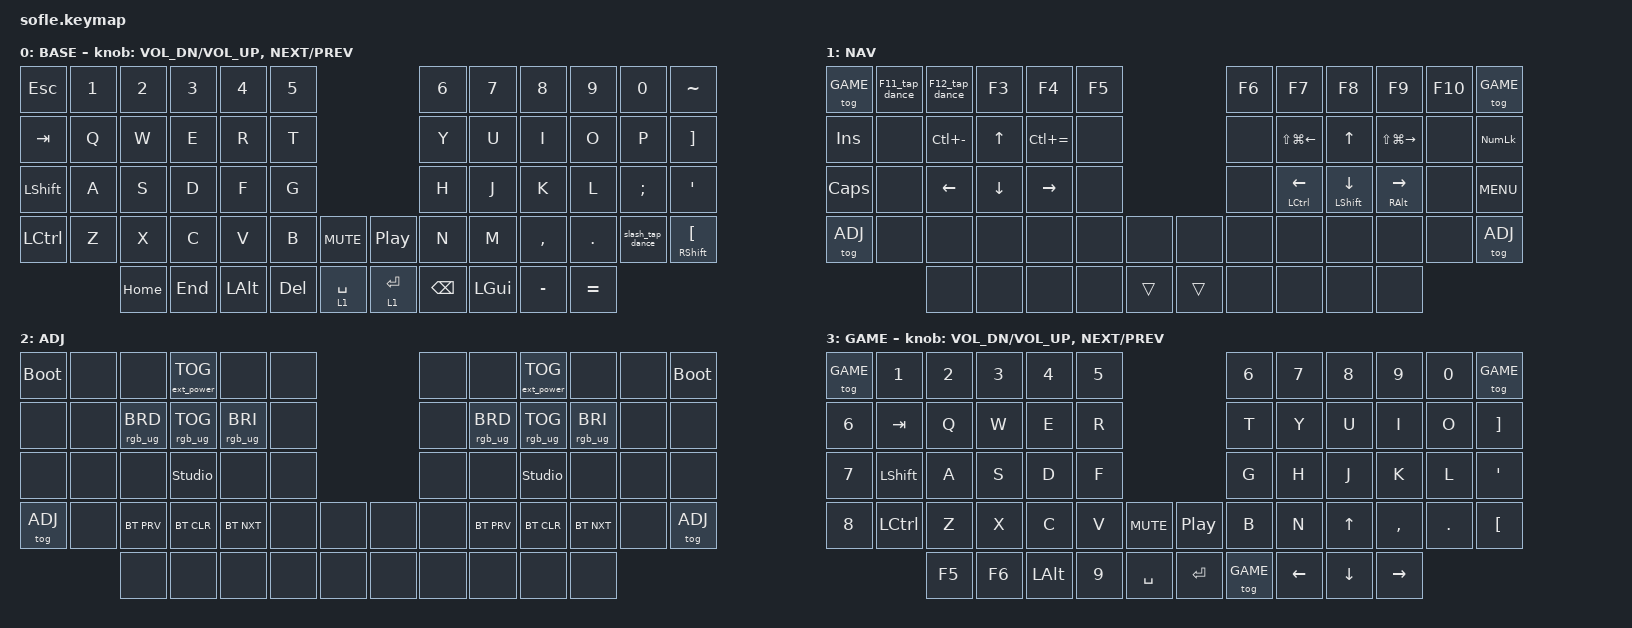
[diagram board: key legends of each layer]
#include <behaviors.dtsi>
#include <dt-bindings/zmk/bt.h>
#include <dt-bindings/zmk/ext_power.h>
#include <dt-bindings/zmk/keys.h>
#include <dt-bindings/zmk/rgb.h>

#define BASE 0
#define NAV 1
#define ADJ 2
#define GAME 3

&lt {
    tapping-term-ms = <280>;
    quick-tap-ms = <175>;
    require-prior-idle-ms = <150>;
    flavor = "balanced";
};

&mt {
    tapping-term-ms = <280>;
    quick-tap-ms = <175>;
    require-prior-idle-ms = <150>;
    flavor = "balanced";
};

/ {
    left_encoder: encoder_left {
        compatible = "alps,ec11";
        a-gpios = <&pro_micro 21 (GPIO_ACTIVE_HIGH | GPIO_PULL_UP)>;
        b-gpios = <&pro_micro 20 (GPIO_ACTIVE_HIGH | GPIO_PULL_UP)>;
        steps = <60>;
    };

    right_encoder: encoder_right {
        compatible = "alps,ec11";
        a-gpios = <&pro_micro 21 (GPIO_ACTIVE_HIGH | GPIO_PULL_UP)>;
        b-gpios = <&pro_micro 20 (GPIO_ACTIVE_HIGH | GPIO_PULL_UP)>;
        steps = <60>;
    };

    sensors {
        compatible = "zmk,keymap-sensors";
        sensors = <&left_encoder &right_encoder>;
        triggers-per-rotation = <30>;
    };
};

/ {
    combos {
        compatible = "zmk,combos";

        r_esc {
            bindings = <&kp ESC>;
            key-positions = <31 32 33>;
            layers = <BASE GAME>;
        };

        l_esc {
            bindings = <&kp ESC>;
            key-positions = <26 27 28>;
            layers = <BASE>;
        };

        switch_input {
            bindings = <&kp LS(LALT)>;
            key-positions = <54 55>;
            layers = <BASE>;
        };
    };

    behaviors {
        F11_tap_dance: F11_tap_dance {
            compatible = "zmk,behavior-tap-dance";
            #binding-cells = <0>;
            bindings = <&kp F1>, <&kp F11>;
        };

        F12_tap_dance: F12_tap_dance {
            compatible = "zmk,behavior-tap-dance";
            #binding-cells = <0>;
            bindings = <&kp F2>, <&kp F12>;
        };

        slash_tap_dance: slash_tap_dance {
            compatible = "zmk,behavior-tap-dance";
            #binding-cells = <0>;
            bindings = <&kp FSLH>, <&kp BACKSLASH>;
        };

        grave_dance: grave_dance {
            compatible = "zmk,behavior-tap-dance";
            #binding-cells = <0>;
            bindings = <&kp SQT>, <&kp GRAVE>;

            label = "GRAVE_DANCE";
        };
    };

    keymap {
        compatible = "zmk,keymap";

        BASE {
            display-name = "BASE";
            bindings = <
&kp ESC         &kp N1  &kp N2    &kp N3   &kp N4        &kp N5                                    &kp N6         &kp N7        &kp N8     &kp N9     &kp N0            &kp TILDE
&kp TAB         &kp Q   &kp W     &kp E    &kp R         &kp T                                     &kp Y          &kp U         &kp I      &kp O      &kp P             &kp RIGHT_BRACKET
&kp LEFT_SHIFT  &kp A   &kp S     &kp D    &kp F         &kp G                                     &kp H          &kp J         &kp K      &kp L      &kp SEMI          &kp SQT
&kp LCTRL       &kp Z   &kp X     &kp C    &kp V         &kp B    &kp C_MUTE     &kp C_PLAY_PAUSE  &kp N          &kp M         &kp COMMA  &kp DOT    &slash_tap_dance  &mt RSHFT LEFT_BRACKET
                        &kp HOME  &kp END  &kp LEFT_ALT  &kp DEL  &lt 1 SPACE    &lt 1 ENTER       &kp BACKSPACE  &kp LEFT_GUI  &kp MINUS  &kp EQUAL
            >;

            sensor-bindings =
                <&inc_dec_kp C_VOL_DN C_VOL_UP>,
                <&inc_dec_kp C_NEXT C_PREV>;
        };

        NAV {
            display-name = "NAV";
            bindings = <
&tog GAME   &F11_tap_dance  &F12_tap_dance  &kp F3    &kp F4         &kp F5                    &kp F6  &kp F7            &kp F8                &kp F9             &kp F10  &tog GAME
&kp INSERT  &none           &kp LC(MINUS)   &kp UP    &kp LC(EQUAL)  &none                     &none   &kp LS(LG(LEFT))  &kp UP_ARROW          &kp LS(LG(RIGHT))  &none    &kp KP_NUM
&kp CAPS    &none           &kp LEFT        &kp DOWN  &kp RIGHT      &none                     &none   &mt LCTRL LEFT    &mt LSHFT DOWN_ARROW  &mt RALT RIGHT     &none    &kp C_MENU
&tog ADJ    &none           &none           &none     &none          &none   &none     &none   &none   &none             &none                 &none              &none    &tog ADJ
                            &none           &none     &none          &none   &trans    &trans  &none   &none             &none                 &none
            >;
        };

        ADJ {
            display-name = "ADJ";
            bindings = <
&bootloader  &none  &none            &ext_power EP_TOG  &none            &none                  &none  &none            &ext_power EP_TOG  &none            &none  &bootloader
&none        &none  &rgb_ug RGB_BRD  &rgb_ug RGB_TOG    &rgb_ug RGB_BRI  &none                  &none  &rgb_ug RGB_BRD  &rgb_ug RGB_TOG    &rgb_ug RGB_BRI  &none  &none
&none        &none  &none            &studio_unlock     &none            &none                  &none  &none            &studio_unlock     &none            &none  &none
&tog ADJ     &none  &bt BT_PRV       &bt BT_CLR         &bt BT_NXT       &none  &none    &none  &none  &bt BT_PRV       &bt BT_CLR         &bt BT_NXT       &none  &tog ADJ
                    &none            &none              &none            &none  &none    &none  &none  &none            &none              &none
            >;
        };

        GAME {
            display-name = "GAME";
            bindings = <
&tog GAME  &kp N1     &kp N2  &kp N3  &kp N4    &kp N5                                  &kp N6     &kp N7    &kp N8    &kp N9     &kp N0   &tog GAME
&kp N6     &kp TAB    &kp Q   &kp W   &kp E     &kp R                                   &kp T      &kp Y     &kp U     &kp I      &kp O    &kp RIGHT_BRACKET
&kp N7     &kp LSHFT  &kp A   &kp S   &kp D     &kp F                                   &kp G      &kp H     &kp J     &kp K      &kp L    &kp SQT
&kp N8     &kp LCTRL  &kp Z   &kp X   &kp C     &kp V   &kp C_MUTE    &kp C_PLAY_PAUSE  &kp B      &kp N     &kp UP    &kp COMMA  &kp DOT  &kp LEFT_BRACKET
                      &kp F5  &kp F6  &kp LALT  &kp N9  &kp SPACE     &kp ENTER         &tog GAME  &kp LEFT  &kp DOWN  &kp RIGHT
            >;

            sensor-bindings =
                <&inc_dec_kp C_VOL_DN C_VOL_UP>,
                <&inc_dec_kp C_NEXT C_PREV>;
        };
    };
};
